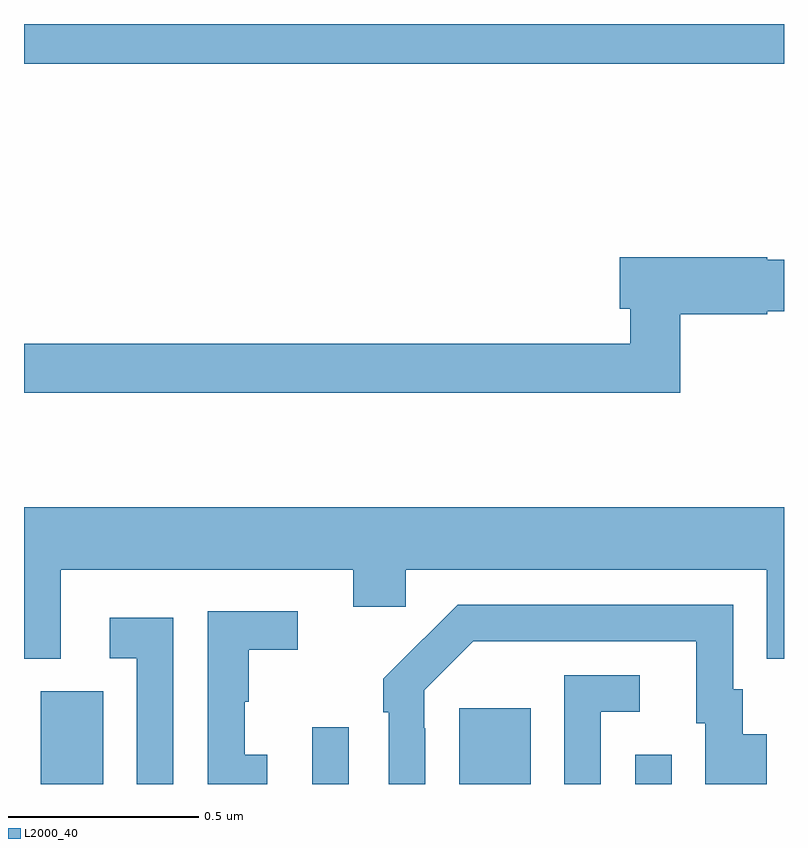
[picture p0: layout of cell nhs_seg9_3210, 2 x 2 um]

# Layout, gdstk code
import gdstk
lib = gdstk.Library(unit=1e-6, precision=1e-09)
def R(c, l, rs):  # rectangles x0, y0, x1, y1
    for r in rs: c.add(gdstk.rectangle(r[:2], r[2:], *l))
def P(c, l, *ps):  # polygons
    for p in ps: c.add(gdstk.Polygon(p, *l))
L2000_40 = (2000, 40)

nhs_seg9_3210 = lib.new_cell('nhs_seg9_3210')
R(nhs_seg9_3210, L2000_40, [(150.044,1218.5,150.208,1218.744), (150.759,1218.5,150.855,1218.649), (151.145,1218.5,151.333,1218.7), (151.608,1218.5,151.704,1218.577), (150,1220.396,152,1220.5)])
P(nhs_seg9_3210, L2000_40, [(151.727,1219.736),(151.956,1219.736),(151.956,1219.744),(152,1219.744),(152,1219.88),(151.956,1219.88),(151.956,1219.886),(151.568,1219.886),(151.568,1219.751),(151.595,1219.751),(151.595,1219.658),(150,1219.658),(150,1219.53),(151.727,1219.53)],
  [(150.097,1219.064),(150.866,1219.064),(150.866,1218.966),(151.005,1218.966),(151.005,1219.064),(151.955,1219.064),(151.955,1218.829),(152,1218.829),(152,1219.228),(150,1219.228),(150,1218.829),(150.097,1218.829)],
  [(151.056,1218.647),(151.053,1218.647),(151.053,1218.747),(151.182,1218.876),(151.769,1218.876),(151.769,1218.66),(151.793,1218.66),(151.793,1218.5),(151.954,1218.5),(151.954,1218.631),(151.891,1218.631),(151.891,1218.75),(151.866,1218.75),(151.866,1218.972),(151.142,1218.972),(151.051,1218.881),(151.05,1218.882),(150.945,1218.777),(150.945,1218.689),(150.96,1218.689),(150.96,1218.5),(151.056,1218.5)],
  [(150.64,1218.577),(150.581,1218.577),(150.581,1218.717),(150.592,1218.717),(150.592,1218.853),(150.721,1218.853),(150.721,1218.954),(150.483,1218.954),(150.483,1218.5),(150.64,1218.5)],
  [(150.393,1218.937),(150.225,1218.937),(150.225,1218.831),(150.297,1218.831),(150.297,1218.5),(150.393,1218.5)],
  [(151.518,1218.69),(151.621,1218.69),(151.621,1218.786),(151.422,1218.786),(151.422,1218.5),(151.518,1218.5)])

lib.write_gds('nhs_seg9_3210.gds')
